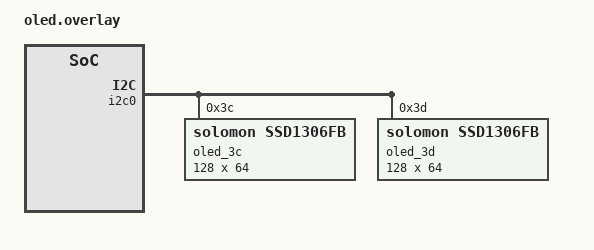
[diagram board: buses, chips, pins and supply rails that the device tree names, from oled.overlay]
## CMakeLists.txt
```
# SPDX-License-Identifier: Apache-2.0
#
# A five-line status screen on a 0.96" SSD1306 that shares the HM01B0 camera's I2C bus.
#
#   west build -b <board> samples/oled_status -- -DBOARD_ROOT=$IISWC_ROOT \
#       -DEXTRA_DTC_OVERLAY_FILE=$IISWC_ROOT/samples/oled_status/oled.overlay
#
# Stock Zephyr all the way down: i2c_sifive (the TLI2C), ssd1306 and CFB. The only code of
# ours is src/oled_status.c (probe, thread, rendering, bar graph) and a 5x8 font.
# fpga/pynq-z2/docs/OLED_SSD1306.md is the design note; scripts/54, 55 and 56 test it on
# the host, in RTL simulation and on the board.
cmake_minimum_required(VERSION 3.20.0)

find_package(Zephyr REQUIRED HINTS $ENV{ZEPHYR_BASE})
project(oled_status)

target_sources(app PRIVATE src/main.c src/oled_status.c src/font5x8.c)
```

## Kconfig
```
# SPDX-License-Identifier: Apache-2.0
mainmenu "OLED status demo"

rsource "src/Kconfig.oled_status"

config OLED_DEMO_FRAMES
	int "Simulated camera frames before the demo prints its summary (0 = run forever)"
	default 300

config OLED_DEMO_FRAME_MS
	int "Simulated frame period (ms)"
	default 33

config OLED_DEMO_PATTERN_MS
	int "How long the test pattern stays up before the status screen (ms)"
	default 2000

config OLED_DEMO_GOLDEN
	bool "Draw the golden screen and the test pattern once, then stop"
	help
	  For the RTL simulation and the board lab's image check: the screen is the fixed
	  one the host test renders into expected/oled_status.json, so the SSD1306 model's
	  framebuffer can be compared byte for byte.

source "Kconfig.zephyr"
```

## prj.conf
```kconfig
# SPDX-License-Identifier: Apache-2.0
CONFIG_PRINTK=y
CONFIG_MAIN_STACK_SIZE=2048

# The display stack: i2c_sifive and ssd1306 are default-y from the devicetree nodes the
# overlay enables; CFB and the display class are not.
CONFIG_I2C=y
CONFIG_DISPLAY=y
CONFIG_CHARACTER_FRAMEBUFFER=y
# Our 5x8 font (src/font5x8.c) instead of the stock 10x16/15x24/20x32 set (~13.8 KB).
CONFIG_CHARACTER_FRAMEBUFFER_USE_DEFAULT_FONTS=n
# cfb_framebuffer_init() k_malloc()s its 1,024-byte buffer.
CONFIG_HEAP_MEM_POOL_SIZE=2048
```

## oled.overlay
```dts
/* SPDX-License-Identifier: Apache-2.0 */
/*
 * The OLED on the camera shield's I2C bus: i2c0 is the TLI2C at 0x1004_0000, already
 * declared (disabled, clock-frequency 100000) in dts/riscv/chipyard/chipyard-riscv.dtsi,
 * which every boards/chipyard/pynqz1* DTS includes. This overlay only enables it and adds
 * the display at both addresses 0.96" modules are strapped for.
 *
 * zephyr,deferred-init on both: nothing probes the bus before main(). oled_status's
 * thread NOP-probes 0x3c then 0x3d and device_init()s the one that ACKs.
 *
 * Panel properties are Zephyr's own ssd1306_128x64 shield values (boards/shields/ssd1306):
 * COM pins alternative (no com-sequential), segment remap + COM scan flipped for the usual
 * module orientation, precharge 0x22. No reset-gpios: these modules have no RES pin.
 *
 * clock-frequency is deliberately NOT set here. chipyard_pynqz1_cam (the camera build's
 * board) sets 100000, and so does the shared dtsi; that is the measured-right value, and the
 * bus has ONE controller and therefore one prescaler for the camera and the display together.
 * fpga/pynq-z2/docs/OLED_SSD1306.md section 7.3 has the measurement (112.7 kHz actual) and
 * why 400000 is not recommended. `status` stays here so the overlay also works on boards
 * whose DTS leaves i2c0 disabled, such as chipyard_pynqz1_micrgb.
 */
&i2c0 {
	status = "okay";

	oled_3c: ssd1306@3c {
		compatible = "solomon,ssd1306fb";
		reg = <0x3c>;
		width = <128>;
		height = <64>;
		segment-offset = <0>;
		page-offset = <0>;
		display-offset = <0>;
		multiplex-ratio = <63>;
		segment-remap;
		com-invdir;
		prechargep = <0x22>;
		zephyr,deferred-init;
	};

	oled_3d: ssd1306@3d {
		compatible = "solomon,ssd1306fb";
		reg = <0x3d>;
		width = <128>;
		height = <64>;
		segment-offset = <0>;
		page-offset = <0>;
		display-offset = <0>;
		multiplex-ratio = <63>;
		segment-remap;
		com-invdir;
		prechargep = <0x22>;
		zephyr,deferred-init;
	};
};
```

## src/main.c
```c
/* SPDX-License-Identifier: Apache-2.0 */
/*
 * OLED status demo. Stands in for the camera + inference loop of the tutorial: it counts
 * frames at CONFIG_OLED_DEMO_FRAME_MS, measures fps from k_uptime, cycles a label and a
 * score, and takes an RTF value "from the application". The display is fed with
 * oled_status_post(), which never blocks, so this loop's timing is the proof that the
 * display does not hold anything up: the summary line reports the loop's own worst-case
 * frame lateness alongside the number of screens drawn.
 *
 * Console lines the lab greps (scripts/56_rocket_oled_board.sh):
 *   OLED_DEMO: start
 *   oled: ready at 0x3c   |   oled: no ACK at 0x3c/0x3d, not fitted ...
 *   OLED_DEMO: state=READY addr=0x3c frames=300 drawn=9 late_max_ms=0
 *   OLED_DEMO: done
 */
#include <zephyr/kernel.h>
#include <zephyr/sys/printk.h>
#include <string.h>

#include "oled_status.h"
#include "oled_golden.h"

static const char *const labels[] = {"person", "no person", "person", "unknown"};

#if defined(CONFIG_UART_HTIF)
/*
 * RTL simulation only. fesvr watches the HTIF `tohost` word: writing 1 ends the simulation,
 * the way the bare-metal samples finish (samples/pext_rtl_selftest). Without it a Zephyr
 * guest that has finished just idles until +max-cycles, and the I2C model's dump waits with
 * it. CONFIG_UART_HTIF is n on every board target, so this is not built for the board.
 */
extern volatile uint64_t tohost;

static void sim_exit(void)
{
	tohost = 1;
}
#else
static void sim_exit(void)
{
}
#endif

/*
 * Wait until the display thread has either finished probing or drawn `drawn` screens.
 *
 * The poll interval is 1 ms in golden mode because that mode runs in RTL simulation, where
 * a millisecond of guest time is half a million simulated cycles: a 10 ms poll would cost
 * minutes of wall-clock per iteration. On the board, 10 ms is the cheaper choice.
 */
static void wait_display(uint32_t drawn, int64_t timeout_ms)
{
	const int poll_ms = IS_ENABLED(CONFIG_OLED_DEMO_GOLDEN) ? 1 : 10;
	int64_t end = k_uptime_get() + timeout_ms;

	while (k_uptime_get() < end) {
		enum oled_state st = oled_status_state();

		if (st == OLED_STATE_ABSENT || st == OLED_STATE_FAILED) {
			return;
		}
		if (st == OLED_STATE_READY && oled_status_frames_drawn() >= drawn) {
			return;
		}
		k_sleep(K_MSEC(poll_ms));
	}
}

static void summary(uint32_t frames, int64_t late_max)
{
	printk("OLED_DEMO: state=%s addr=0x%02x frames=%u drawn=%u late_max_ms=%lld "
	       "render_cycles=%u xfer_cycles=%u\n",
	       oled_state_name(oled_status_state()), oled_status_addr(), frames,
	       oled_status_frames_drawn(), late_max, oled_status_last_render_cycles(),
	       oled_status_last_xfer_cycles());
}

int main(void)
{
	printk("OLED_DEMO: start\n");
	oled_status_start();

	if (IS_ENABLED(CONFIG_OLED_DEMO_GOLDEN)) {
		oled_status_post(&oled_golden_status);
		wait_display(1, 600000);
		printk("OLED_GOLDEN: status screen drawn=%u render_cycles=%u xfer_cycles=%u\n",
		       oled_status_frames_drawn(), oled_status_last_render_cycles(),
		       oled_status_last_xfer_cycles());
		oled_status_post_pattern();
		wait_display(2, 600000);
		printk("OLED_GOLDEN: pattern drawn=%u render_cycles=%u xfer_cycles=%u\n",
		       oled_status_frames_drawn(), oled_status_last_render_cycles(),
		       oled_status_last_xfer_cycles());
		summary(0, 0);
		printk("OLED_DEMO: done\n");
		sim_exit();
		return 0;
	}

	oled_status_post_pattern();
	k_sleep(K_MSEC(CONFIG_OLED_DEMO_PATTERN_MS));

	struct oled_status s = oled_golden_status;
	int64_t t0 = k_uptime_get();
	int64_t due = t0;
	int64_t late_max = 0;
	uint32_t frame = 0;

	for (;;) {
		due += CONFIG_OLED_DEMO_FRAME_MS;
		k_sleep(K_TIMEOUT_ABS_MS(due));
		int64_t now = k_uptime_get();

		if (now - due > late_max) {
			late_max = now - due;
		}
		frame++;

		s.frame = frame;
		s.fps_milli = (uint32_t)((int64_t)frame * 1000000 / MAX(now - t0, 1));
		strncpy(s.label, labels[(frame / 30U) % ARRAY_SIZE(labels)], sizeof(s.label) - 1);
		s.score_pct = (uint8_t)(50U + (frame * 7U) % 50U);
		s.rtf_milli = 4350; /* the application's own number; the demo has none */
		oled_status_post(&s);

		if (CONFIG_OLED_DEMO_FRAMES && frame == CONFIG_OLED_DEMO_FRAMES) {
			wait_display(oled_status_frames_drawn() + 1, 5000);
			summary(frame, late_max);
			printk("OLED_DEMO: done\n");
			sim_exit();
			return 0;
		}
	}
}
```

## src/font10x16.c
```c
/* SPDX-License-Identifier: Apache-2.0 */
/*
 * GENERATED by samples/oled_status/tools/gen_font_scaled.py 2 -- do not edit.
 * Source: src/font5x8.c, pixel-doubled 2x.  Public domain font (X11 misc-fixed).
 * 10x16 cells, CFB_FONT_MONO_VPACKED, LSB first, ASCII 0x20..0x7e.
 * On a 128x64 panel: 12 characters per line, 4 lines.
 */
#include <zephyr/display/cfb.h>

static const uint8_t oled_font10x16[95][20] = {
	{0x00, 0x00, 0x00, 0x00, 0x00, 0x00, 0x00, 0x00, 0x00, 0x00, 0x00, 0x00, 0x00, 0x00, 0x00, 0x00, 0x00, 0x00, 0x00, 0x00},  /* 0x20  */
	{0x00, 0x00, 0x00, 0x00, 0x00, 0x00, 0x00, 0x00, 0xff, 0x0c, 0xff, 0x0c, 0x00, 0x00, 0x00, 0x00, 0x00, 0x00, 0x00, 0x00},  /* 0x21 ! */
	{0x00, 0x00, 0x00, 0x00, 0x3f, 0x00, 0x3f, 0x00, 0x00, 0x00, 0x00, 0x00, 0x3f, 0x00, 0x3f, 0x00, 0x00, 0x00, 0x00, 0x00},  /* 0x22 " */
	{0x30, 0x03, 0x30, 0x03, 0xfc, 0x0f, 0xfc, 0x0f, 0x30, 0x03, 0x30, 0x03, 0xfc, 0x0f, 0xfc, 0x0f, 0x30, 0x03, 0x30, 0x03},  /* 0x23 # */
	{0x30, 0x00, 0x30, 0x00, 0xcc, 0x0c, 0xcc, 0x0c, 0xfc, 0x0f, 0xfc, 0x0f, 0xcc, 0x0c, 0xcc, 0x0c, 0x00, 0x03, 0x00, 0x03},  /* 0x24 $ */
	{0x0f, 0x03, 0x0f, 0x03, 0xc0, 0x00, 0xc0, 0x00, 0x30, 0x00, 0x30, 0x00, 0x0c, 0x0f, 0x0c, 0x0f, 0x00, 0x00, 0x00, 0x00},  /* 0x25 % */
	{0x30, 0x03, 0x30, 0x03, 0xcc, 0x0c, 0xcc, 0x0c, 0x30, 0x03, 0x30, 0x03, 0x00, 0x0c, 0x00, 0x0c, 0x00, 0x00, 0x00, 0x00},  /* 0x26 & */
	{0x00, 0x00, 0x00, 0x00, 0x00, 0x00, 0x00, 0x00, 0x3f, 0x00, 0x3f, 0x00, 0x00, 0x00, 0x00, 0x00, 0x00, 0x00, 0x00, 0x00},  /* 0x27 ' */
	{0x00, 0x00, 0x00, 0x00, 0xfc, 0x03, 0xfc, 0x03, 0x03, 0x0c, 0x03, 0x0c, 0x00, 0x00, 0x00, 0x00, 0x00, 0x00, 0x00, 0x00},  /* 0x28 ( */
	{0x00, 0x00, 0x00, 0x00, 0x03, 0x0c, 0x03, 0x0c, 0xfc, 0x03, 0xfc, 0x03, 0x00, 0x00, 0x00, 0x00, 0x00, 0x00, 0x00, 0x00},  /* 0x29 ) */
	{0x00, 0x00, 0x00, 0x00, 0xcc, 0x0c, 0xcc, 0x0c, 0xf0, 0x03, 0xf0, 0x03, 0xcc, 0x0c, 0xcc, 0x0c, 0x00, 0x00, 0x00, 0x00},  /* 0x2a * */
	{0xc0, 0x00, 0xc0, 0x00, 0xc0, 0x00, 0xc0, 0x00, 0xfc, 0x0f, 0xfc, 0x0f, 0xc0, 0x00, 0xc0, 0x00, 0xc0, 0x00, 0xc0, 0x00},  /* 0x2b + */
	{0x00, 0x00, 0x00, 0x00, 0x00, 0x30, 0x00, 0x30, 0x00, 0x0f, 0x00, 0x0f, 0x00, 0x03, 0x00, 0x03, 0x00, 0x00, 0x00, 0x00},  /* 0x2c , */
	{0xc0, 0x00, 0xc0, 0x00, 0xc0, 0x00, 0xc0, 0x00, 0xc0, 0x00, 0xc0, 0x00, 0xc0, 0x00, 0xc0, 0x00, 0x00, 0x00, 0x00, 0x00},  /* 0x2d - */
	{0x00, 0x00, 0x00, 0x00, 0x00, 0x0f, 0x00, 0x0f, 0x00, 0x0f, 0x00, 0x0f, 0x00, 0x00, 0x00, 0x00, 0x00, 0x00, 0x00, 0x00},  /* 0x2e . */
	{0x00, 0x03, 0x00, 0x03, 0xc0, 0x00, 0xc0, 0x00, 0x30, 0x00, 0x30, 0x00, 0x0c, 0x00, 0x0c, 0x00, 0x00, 0x00, 0x00, 0x00},  /* 0x2f / */
	{0x00, 0x00, 0x00, 0x00, 0xfc, 0x03, 0xfc, 0x03, 0x03, 0x0c, 0x03, 0x0c, 0xfc, 0x03, 0xfc, 0x03, 0x00, 0x00, 0x00, 0x00},  /* 0x30 0 */
	{0x00, 0x00, 0x00, 0x00, 0x0c, 0x0c, 0x0c, 0x0c, 0xff, 0x0f, 0xff, 0x0f, 0x00, 0x0c, 0x00, 0x0c, 0x00, 0x00, 0x00, 0x00},  /* 0x31 1 */
	{0x0c, 0x0c, 0x0c, 0x0c, 0x03, 0x0f, 0x03, 0x0f, 0xc3, 0x0c, 0xc3, 0x0c, 0x3c, 0x0c, 0x3c, 0x0c, 0x00, 0x00, 0x00, 0x00},  /* 0x32 2 */
	{0x03, 0x03, 0x03, 0x03, 0x33, 0x0c, 0x33, 0x0c, 0x33, 0x0c, 0x33, 0x0c, 0xcf, 0x03, 0xcf, 0x03, 0x00, 0x00, 0x00, 0x00},  /* 0x33 3 */
	{0xf0, 0x00, 0xf0, 0x00, 0xcc, 0x00, 0xcc, 0x00, 0xff, 0x0f, 0xff, 0x0f, 0xc0, 0x00, 0xc0, 0x00, 0x00, 0x00, 0x00, 0x00},  /* 0x34 4 */
	{0x3f, 0x03, 0x3f, 0x03, 0x33, 0x0c, 0x33, 0x0c, 0x33, 0x0c, 0x33, 0x0c, 0xc3, 0x03, 0xc3, 0x03, 0x00, 0x00, 0x00, 0x00},  /* 0x35 5 */
	{0xfc, 0x03, 0xfc, 0x03, 0x33, 0x0c, 0x33, 0x0c, 0x33, 0x0c, 0x33, 0x0c, 0xc0, 0x03, 0xc0, 0x03, 0x00, 0x00, 0x00, 0x00},  /* 0x36 6 */
	{0x03, 0x00, 0x03, 0x00, 0x03, 0x0f, 0x03, 0x0f, 0xf3, 0x00, 0xf3, 0x00, 0x0f, 0x00, 0x0f, 0x00, 0x00, 0x00, 0x00, 0x00},  /* 0x37 7 */
	{0xcc, 0x03, 0xcc, 0x03, 0x33, 0x0c, 0x33, 0x0c, 0x33, 0x0c, 0x33, 0x0c, 0xcc, 0x03, 0xcc, 0x03, 0x00, 0x00, 0x00, 0x00},  /* 0x38 8 */
	{0x3c, 0x00, 0x3c, 0x00, 0xc3, 0x0c, 0xc3, 0x0c, 0xc3, 0x0c, 0xc3, 0x0c, 0xfc, 0x03, 0xfc, 0x03, 0x00, 0x00, 0x00, 0x00},  /* 0x39 9 */
	{0x00, 0x00, 0x00, 0x00, 0x3c, 0x0f, 0x3c, 0x0f, 0x3c, 0x0f, 0x3c, 0x0f, 0x00, 0x00, 0x00, 0x00, 0x00, 0x00, 0x00, 0x00},  /* 0x3a : */
	{0x00, 0x30, 0x00, 0x30, 0x3c, 0x0f, 0x3c, 0x0f, 0x3c, 0x03, 0x3c, 0x03, 0x00, 0x00, 0x00, 0x00, 0x00, 0x00, 0x00, 0x00},  /* 0x3b ; */
	{0x00, 0x00, 0x00, 0x00, 0xc0, 0x00, 0xc0, 0x00, 0x30, 0x03, 0x30, 0x03, 0x0c, 0x0c, 0x0c, 0x0c, 0x00, 0x00, 0x00, 0x00},  /* 0x3c < */
	{0x30, 0x03, 0x30, 0x03, 0x30, 0x03, 0x30, 0x03, 0x30, 0x03, 0x30, 0x03, 0x30, 0x03, 0x30, 0x03, 0x00, 0x00, 0x00, 0x00},  /* 0x3d = */
	{0x00, 0x00, 0x00, 0x00, 0x0c, 0x0c, 0x0c, 0x0c, 0x30, 0x03, 0x30, 0x03, 0xc0, 0x00, 0xc0, 0x00, 0x00, 0x00, 0x00, 0x00},  /* 0x3e > */
	{0x00, 0x00, 0x00, 0x00, 0x0c, 0x00, 0x0c, 0x00, 0xc3, 0x0c, 0xc3, 0x0c, 0x3c, 0x00, 0x3c, 0x00, 0x00, 0x00, 0x00, 0x00},  /* 0x3f ? */
	{0xfc, 0x03, 0xfc, 0x03, 0x03, 0x0c, 0x03, 0x0c, 0xf3, 0x0c, 0xf3, 0x0c, 0xfc, 0x00, 0xfc, 0x00, 0x00, 0x00, 0x00, 0x00},  /* 0x40 @ */
	{0xfc, 0x0f, 0xfc, 0x0f, 0xc3, 0x00, 0xc3, 0x00, 0xc3, 0x00, 0xc3, 0x00, 0xfc, 0x0f, 0xfc, 0x0f, 0x00, 0x00, 0x00, 0x00},  /* 0x41 A */
	{0xff, 0x0f, 0xff, 0x0f, 0x33, 0x0c, 0x33, 0x0c, 0x33, 0x0c, 0x33, 0x0c, 0xcc, 0x03, 0xcc, 0x03, 0x00, 0x00, 0x00, 0x00},  /* 0x42 B */
	{0xfc, 0x03, 0xfc, 0x03, 0x03, 0x0c, 0x03, 0x0c, 0x03, 0x0c, 0x03, 0x0c, 0x0c, 0x03, 0x0c, 0x03, 0x00, 0x00, 0x00, 0x00},  /* 0x43 C */
	{0xff, 0x0f, 0xff, 0x0f, 0x03, 0x0c, 0x03, 0x0c, 0x03, 0x0c, 0x03, 0x0c, 0xfc, 0x03, 0xfc, 0x03, 0x00, 0x00, 0x00, 0x00},  /* 0x44 D */
	{0xff, 0x0f, 0xff, 0x0f, 0x33, 0x0c, 0x33, 0x0c, 0x33, 0x0c, 0x33, 0x0c, 0x03, 0x0c, 0x03, 0x0c, 0x00, 0x00, 0x00, 0x00},  /* 0x45 E */
	{0xff, 0x0f, 0xff, 0x0f, 0x33, 0x00, 0x33, 0x00, 0x33, 0x00, 0x33, 0x00, 0x03, 0x00, 0x03, 0x00, 0x00, 0x00, 0x00, 0x00},  /* 0x46 F */
	{0xfc, 0x03, 0xfc, 0x03, 0x03, 0x0c, 0x03, 0x0c, 0xc3, 0x0c, 0xc3, 0x0c, 0xcc, 0x0f, 0xcc, 0x0f, 0x00, 0x00, 0x00, 0x00},  /* 0x47 G */
	{0xff, 0x0f, 0xff, 0x0f, 0x30, 0x00, 0x30, 0x00, 0x30, 0x00, 0x30, 0x00, 0xff, 0x0f, 0xff, 0x0f, 0x00, 0x00, 0x00, 0x00},  /* 0x48 H */
	{0x00, 0x00, 0x00, 0x00, 0x03, 0x0c, 0x03, 0x0c, 0xff, 0x0f, 0xff, 0x0f, 0x03, 0x0c, 0x03, 0x0c, 0x00, 0x00, 0x00, 0x00},  /* 0x49 I */
	{0x00, 0x03, 0x00, 0x03, 0x00, 0x0c, 0x00, 0x0c, 0x00, 0x0c, 0x00, 0x0c, 0xff, 0x03, 0xff, 0x03, 0x00, 0x00, 0x00, 0x00},  /* 0x4a J */
	{0xff, 0x0f, 0xff, 0x0f, 0xf0, 0x00, 0xf0, 0x00, 0x0c, 0x03, 0x0c, 0x03, 0x03, 0x0c, 0x03, 0x0c, 0x00, 0x00, 0x00, 0x00},  /* 0x4b K */
	{0xff, 0x0f, 0xff, 0x0f, 0x00, 0x0c, 0x00, 0x0c, 0x00, 0x0c, 0x00, 0x0c, 0x00, 0x0c, 0x00, 0x0c, 0x00, 0x00, 0x00, 0x00},  /* 0x4c L */
	{0xff, 0x0f, 0xff, 0x0f, 0x3c, 0x00, 0x3c, 0x00, 0x3c, 0x00, 0x3c, 0x00, 0xff, 0x0f, 0xff, 0x0f, 0x00, 0x00, 0x00, 0x00},  /* 0x4d M */
	{0xff, 0x0f, 0xff, 0x0f, 0x3c, 0x00, 0x3c, 0x00, 0xc0, 0x03, 0xc0, 0x03, 0xff, 0x0f, 0xff, 0x0f, 0x00, 0x00, 0x00, 0x00},  /* 0x4e N */
	{0xfc, 0x03, 0xfc, 0x03, 0x03, 0x0c, 0x03, 0x0c, 0x03, 0x0c, 0x03, 0x0c, 0xfc, 0x03, 0xfc, 0x03, 0x00, 0x00, 0x00, 0x00},  /* 0x4f O */
	{0xff, 0x0f, 0xff, 0x0f, 0xc3, 0x00, 0xc3, 0x00, 0xc3, 0x00, 0xc3, 0x00, 0x3c, 0x00, 0x3c, 0x00, 0x00, 0x00, 0x00, 0x00},  /* 0x50 P */
	{0xfc, 0x03, 0xfc, 0x03, 0x03, 0x0f, 0x03, 0x0f, 0x03, 0x0c, 0x03, 0x0c, 0xfc, 0x33, 0xfc, 0x33, 0x00, 0x00, 0x00, 0x00},  /* 0x51 Q */
	{0xff, 0x0f, 0xff, 0x0f, 0xc3, 0x00, 0xc3, 0x00, 0xc3, 0x03, 0xc3, 0x03, 0x3c, 0x0c, 0x3c, 0x0c, 0x00, 0x00, 0x00, 0x00},  /* 0x52 R */
	{0x0c, 0x03, 0x0c, 0x03, 0x33, 0x0c, 0x33, 0x0c, 0xc3, 0x0c, 0xc3, 0x0c, 0x0c, 0x03, 0x0c, 0x03, 0x00, 0x00, 0x00, 0x00},  /* 0x53 S */
	{0x00, 0x00, 0x00, 0x00, 0x03, 0x00, 0x03, 0x00, 0xff, 0x0f, 0xff, 0x0f, 0x03, 0x00, 0x03, 0x00, 0x00, 0x00, 0x00, 0x00},  /* 0x54 T */
	{0xff, 0x03, 0xff, 0x03, 0x00, 0x0c, 0x00, 0x0c, 0x00, 0x0c, 0x00, 0x0c, 0xff, 0x03, 0xff, 0x03, 0x00, 0x00, 0x00, 0x00},  /* 0x55 U */
	{0xff, 0x00, 0xff, 0x00, 0x00, 0x0f, 0x00, 0x0f, 0x00, 0x0f, 0x00, 0x0f, 0xff, 0x00, 0xff, 0x00, 0x00, 0x00, 0x00, 0x00},  /* 0x56 V */
	{0xff, 0x0f, 0xff, 0x0f, 0xc0, 0x03, 0xc0, 0x03, 0xc0, 0x03, 0xc0, 0x03, 0xff, 0x0f, 0xff, 0x0f, 0x00, 0x00, 0x00, 0x00},  /* 0x57 W */
	{0x0f, 0x0f, 0x0f, 0x0f, 0xf0, 0x00, 0xf0, 0x00, 0xf0, 0x00, 0xf0, 0x00, 0x0f, 0x0f, 0x0f, 0x0f, 0x00, 0x00, 0x00, 0x00},  /* 0x58 X */
	{0x00, 0x00, 0x00, 0x00, 0x3f, 0x00, 0x3f, 0x00, 0xc0, 0x0f, 0xc0, 0x0f, 0x3f, 0x00, 0x3f, 0x00, 0x00, 0x00, 0x00, 0x00},  /* 0x59 Y */
	{0x03, 0x0f, 0x03, 0x0f, 0xc3, 0x0c, 0xc3, 0x0c, 0x33, 0x0c, 0x33, 0x0c, 0x0f, 0x0c, 0x0f, 0x0c, 0x00, 0x00, 0x00, 0x00},  /* 0x5a Z */
	{0x00, 0x00, 0x00, 0x00, 0xff, 0x0f, 0xff, 0x0f, 0x03, 0x0c, 0x03, 0x0c, 0x03, 0x0c, 0x03, 0x0c, 0x00, 0x00, 0x00, 0x00},  /* 0x5b [ */
	{0x0c, 0x00, 0x0c, 0x00, 0x30, 0x00, 0x30, 0x00, 0xc0, 0x00, 0xc0, 0x00, 0x00, 0x03, 0x00, 0x03, 0x00, 0x00, 0x00, 0x00},  /* 0x5c \ */
	{0x00, 0x00, 0x00, 0x00, 0x03, 0x0c, 0x03, 0x0c, 0x03, 0x0c, 0x03, 0x0c, 0xff, 0x0f, 0xff, 0x0f, 0x00, 0x00, 0x00, 0x00},  /* 0x5d ] */
	{0x00, 0x00, 0x00, 0x00, 0x0c, 0x00, 0x0c, 0x00, 0x03, 0x00, 0x03, 0x00, 0x0c, 0x00, 0x0c, 0x00, 0x00, 0x00, 0x00, 0x00},  /* 0x5e ^ */
	{0x00, 0x0c, 0x00, 0x0c, 0x00, 0x0c, 0x00, 0x0c, 0x00, 0x0c, 0x00, 0x0c, 0x00, 0x0c, 0x00, 0x0c, 0x00, 0x00, 0x00, 0x00},  /* 0x5f _ */
	{0x00, 0x00, 0x00, 0x00, 0x03, 0x00, 0x03, 0x00, 0x0c, 0x00, 0x0c, 0x00, 0x00, 0x00, 0x00, 0x00, 0x00, 0x00, 0x00, 0x00},  /* 0x60 ` */
	{0xc0, 0x03, 0xc0, 0x03, 0x30, 0x0c, 0x30, 0x0c, 0x30, 0x03, 0x30, 0x03, 0xf0, 0x0f, 0xf0, 0x0f, 0x00, 0x00, 0x00, 0x00},  /* 0x61 a */
	{0xff, 0x0f, 0xff, 0x0f, 0x30, 0x0c, 0x30, 0x0c, 0x30, 0x0c, 0x30, 0x0c, 0xc0, 0x03, 0xc0, 0x03, 0x00, 0x00, 0x00, 0x00},  /* 0x62 b */
	{0xc0, 0x03, 0xc0, 0x03, 0x30, 0x0c, 0x30, 0x0c, 0x30, 0x0c, 0x30, 0x0c, 0x00, 0x00, 0x00, 0x00, 0x00, 0x00, 0x00, 0x00},  /* 0x63 c */
	{0xc0, 0x03, 0xc0, 0x03, 0x30, 0x0c, 0x30, 0x0c, 0x30, 0x0c, 0x30, 0x0c, 0xff, 0x0f, 0xff, 0x0f, 0x00, 0x00, 0x00, 0x00},  /* 0x64 d */
	{0xc0, 0x03, 0xc0, 0x03, 0x30, 0x0f, 0x30, 0x0f, 0xf0, 0x0c, 0xf0, 0x0c, 0xc0, 0x00, 0xc0, 0x00, 0x00, 0x00, 0x00, 0x00},  /* 0x65 e */
	{0xc0, 0x00, 0xc0, 0x00, 0xfc, 0x0f, 0xfc, 0x0f, 0xc3, 0x00, 0xc3, 0x00, 0x0c, 0x00, 0x0c, 0x00, 0x00, 0x00, 0x00, 0x00},  /* 0x66 f */
	{0xc0, 0x0c, 0xc0, 0x0c, 0x30, 0x33, 0x30, 0x33, 0x30, 0x33, 0x30, 0x33, 0xf0, 0x30, 0xf0, 0x30, 0x00, 0x00, 0x00, 0x00},  /* 0x67 g */
	{0xff, 0x0f, 0xff, 0x0f, 0x30, 0x00, 0x30, 0x00, 0x30, 0x00, 0x30, 0x00, 0xc0, 0x0f, 0xc0, 0x0f, 0x00, 0x00, 0x00, 0x00},  /* 0x68 h */
	{0x00, 0x00, 0x00, 0x00, 0x30, 0x0c, 0x30, 0x0c, 0xf3, 0x0f, 0xf3, 0x0f, 0x00, 0x0c, 0x00, 0x0c, 0x00, 0x00, 0x00, 0x00},  /* 0x69 i */
	{0x00, 0x00, 0x00, 0x00, 0x00, 0x0c, 0x00, 0x0c, 0x00, 0x30, 0x00, 0x30, 0xf3, 0x0f, 0xf3, 0x0f, 0x00, 0x00, 0x00, 0x00},  /* 0x6a j */
	{0xff, 0x0f, 0xff, 0x0f, 0xc0, 0x00, 0xc0, 0x00, 0x30, 0x03, 0x30, 0x03, 0x00, 0x0c, 0x00, 0x0c, 0x00, 0x00, 0x00, 0x00},  /* 0x6b k */
	{0x00, 0x00, 0x00, 0x00, 0x03, 0x0c, 0x03, 0x0c, 0xff, 0x0f, 0xff, 0x0f, 0x00, 0x0c, 0x00, 0x0c, 0x00, 0x00, 0x00, 0x00},  /* 0x6c l */
	{0xf0, 0x0f, 0xf0, 0x0f, 0xc0, 0x00, 0xc0, 0x00, 0xf0, 0x00, 0xf0, 0x00, 0xc0, 0x0f, 0xc0, 0x0f, 0x00, 0x00, 0x00, 0x00},  /* 0x6d m */
	{0xf0, 0x0f, 0xf0, 0x0f, 0x30, 0x00, 0x30, 0x00, 0x30, 0x00, 0x30, 0x00, 0xc0, 0x0f, 0xc0, 0x0f, 0x00, 0x00, 0x00, 0x00},  /* 0x6e n */
	{0xc0, 0x03, 0xc0, 0x03, 0x30, 0x0c, 0x30, 0x0c, 0x30, 0x0c, 0x30, 0x0c, 0xc0, 0x03, 0xc0, 0x03, 0x00, 0x00, 0x00, 0x00},  /* 0x6f o */
	{0xf0, 0x3f, 0xf0, 0x3f, 0x30, 0x0c, 0x30, 0x0c, 0x30, 0x0c, 0x30, 0x0c, 0xc0, 0x03, 0xc0, 0x03, 0x00, 0x00, 0x00, 0x00},  /* 0x70 p */
	{0xc0, 0x03, 0xc0, 0x03, 0x30, 0x0c, 0x30, 0x0c, 0x30, 0x0c, 0x30, 0x0c, 0xf0, 0x3f, 0xf0, 0x3f, 0x00, 0x00, 0x00, 0x00},  /* 0x71 q */
	{0xf0, 0x0f, 0xf0, 0x0f, 0x30, 0x00, 0x30, 0x00, 0x30, 0x00, 0x30, 0x00, 0xc0, 0x00, 0xc0, 0x00, 0x00, 0x00, 0x00, 0x00},  /* 0x72 r */
	{0xc0, 0x0c, 0xc0, 0x0c, 0xf0, 0x0c, 0xf0, 0x0c, 0x30, 0x0f, 0x30, 0x0f, 0x30, 0x03, 0x30, 0x03, 0x00, 0x00, 0x00, 0x00},  /* 0x73 s */
	{0x30, 0x00, 0x30, 0x00, 0xff, 0x03, 0xff, 0x03, 0x30, 0x0c, 0x30, 0x0c, 0x00, 0x0c, 0x00, 0x0c, 0x00, 0x00, 0x00, 0x00},  /* 0x74 t */
	{0xf0, 0x03, 0xf0, 0x03, 0x00, 0x0c, 0x00, 0x0c, 0x00, 0x0c, 0x00, 0x0c, 0xf0, 0x0f, 0xf0, 0x0f, 0x00, 0x00, 0x00, 0x00},  /* 0x75 u */
	{0x00, 0x00, 0x00, 0x00, 0xf0, 0x03, 0xf0, 0x03, 0x00, 0x0c, 0x00, 0x0c, 0xf0, 0x03, 0xf0, 0x03, 0x00, 0x00, 0x00, 0x00},  /* 0x76 v */
	{0xf0, 0x0f, 0xf0, 0x0f, 0x00, 0x0f, 0x00, 0x0f, 0x00, 0x0f, 0x00, 0x0f, 0xf0, 0x0f, 0xf0, 0x0f, 0x00, 0x00, 0x00, 0x00},  /* 0x77 w */
	{0x30, 0x0c, 0x30, 0x0c, 0xc0, 0x03, 0xc0, 0x03, 0xc0, 0x03, 0xc0, 0x03, 0x30, 0x0c, 0x30, 0x0c, 0x00, 0x00, 0x00, 0x00},  /* 0x78 x */
	{0xf0, 0x00, 0xf0, 0x00, 0x00, 0x33, 0x00, 0x33, 0x00, 0x0c, 0x00, 0x0c, 0xf0, 0x03, 0xf0, 0x03, 0x00, 0x00, 0x00, 0x00},  /* 0x79 y */
	{0x30, 0x0c, 0x30, 0x0c, 0x30, 0x0f, 0x30, 0x0f, 0xf0, 0x0c, 0xf0, 0x0c, 0x30, 0x0c, 0x30, 0x0c, 0x00, 0x00, 0x00, 0x00},  /* 0x7a z */
	{0x00, 0x00, 0x00, 0x00, 0x30, 0x00, 0x30, 0x00, 0xfc, 0x03, 0xfc, 0x03, 0x03, 0x0c, 0x03, 0x0c, 0x00, 0x00, 0x00, 0x00},  /* 0x7b { */
	{0x00, 0x00, 0x00, 0x00, 0x00, 0x00, 0x00, 0x00, 0xff, 0x0f, 0xff, 0x0f, 0x00, 0x00, 0x00, 0x00, 0x00, 0x00, 0x00, 0x00},  /* 0x7c | */
	{0x00, 0x00, 0x00, 0x00, 0x03, 0x0c, 0x03, 0x0c, 0xfc, 0x03, 0xfc, 0x03, 0x30, 0x00, 0x30, 0x00, 0x00, 0x00, 0x00, 0x00},  /* 0x7d } */
	{0x0c, 0x00, 0x0c, 0x00, 0x03, 0x00, 0x03, 0x00, 0x0c, 0x00, 0x0c, 0x00, 0x03, 0x00, 0x03, 0x00, 0x00, 0x00, 0x00, 0x00},  /* 0x7e ~ */
};

FONT_ENTRY_DEFINE(oled_font10x16_entry, 10, 16, CFB_FONT_MONO_VPACKED, oled_font10x16, 32, 126);
```

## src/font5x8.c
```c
/* SPDX-License-Identifier: Apache-2.0 */
/*
 * GENERATED by samples/oled_status/tools/gen_font5x8.py -- do not edit.
 * Source: X11 misc-fixed -Misc-Fixed-Medium-R-Normal--7-70-75-75-C-50-ISO8859-1
 * Source licence (PCF COPYRIGHT property): "Public domain font.  Share and enjoy."
 * 5x8 cells, CFB_FONT_MONO_VPACKED, LSB first (bit 0 = top row), ASCII 0x20..0x7e.
 */
#include <zephyr/display/cfb.h>

static const uint8_t oled_font5x8[95][5] = {
	{0x00, 0x00, 0x00, 0x00, 0x00},  /* 0x20   */
	{0x00, 0x00, 0x2f, 0x00, 0x00},  /* 0x21 ! */
	{0x00, 0x07, 0x00, 0x07, 0x00},  /* 0x22 " */
	{0x14, 0x3e, 0x14, 0x3e, 0x14},  /* 0x23 # */
	{0x04, 0x2a, 0x3e, 0x2a, 0x10},  /* 0x24 $ */
	{0x13, 0x08, 0x04, 0x32, 0x00},  /* 0x25 % */
	{0x14, 0x2a, 0x14, 0x20, 0x00},  /* 0x26 & */
	{0x00, 0x00, 0x07, 0x00, 0x00},  /* 0x27 ' */
	{0x00, 0x1e, 0x21, 0x00, 0x00},  /* 0x28 ( */
	{0x00, 0x21, 0x1e, 0x00, 0x00},  /* 0x29 ) */
	{0x00, 0x2a, 0x1c, 0x2a, 0x00},  /* 0x2a   */
	{0x08, 0x08, 0x3e, 0x08, 0x08},  /* 0x2b + */
	{0x00, 0x40, 0x30, 0x10, 0x00},  /* 0x2c , */
	{0x08, 0x08, 0x08, 0x08, 0x00},  /* 0x2d - */
	{0x00, 0x30, 0x30, 0x00, 0x00},  /* 0x2e . */
	{0x10, 0x08, 0x04, 0x02, 0x00},  /* 0x2f   */
	{0x00, 0x1e, 0x21, 0x1e, 0x00},  /* 0x30 0 */
	{0x00, 0x22, 0x3f, 0x20, 0x00},  /* 0x31 1 */
	{0x22, 0x31, 0x29, 0x26, 0x00},  /* 0x32 2 */
	{0x11, 0x25, 0x25, 0x1b, 0x00},  /* 0x33 3 */
	{0x0c, 0x0a, 0x3f, 0x08, 0x00},  /* 0x34 4 */
	{0x17, 0x25, 0x25, 0x19, 0x00},  /* 0x35 5 */
	{0x1e, 0x25, 0x25, 0x18, 0x00},  /* 0x36 6 */
	{0x01, 0x31, 0x0d, 0x03, 0x00},  /* 0x37 7 */
	{0x1a, 0x25, 0x25, 0x1a, 0x00},  /* 0x38 8 */
	{0x06, 0x29, 0x29, 0x1e, 0x00},  /* 0x39 9 */
	{0x00, 0x36, 0x36, 0x00, 0x00},  /* 0x3a : */
	{0x40, 0x36, 0x16, 0x00, 0x00},  /* 0x3b ; */
	{0x00, 0x08, 0x14, 0x22, 0x00},  /* 0x3c < */
	{0x14, 0x14, 0x14, 0x14, 0x00},  /* 0x3d = */
	{0x00, 0x22, 0x14, 0x08, 0x00},  /* 0x3e > */
	{0x00, 0x02, 0x29, 0x06, 0x00},  /* 0x3f ? */
	{0x1e, 0x21, 0x2d, 0x0e, 0x00},  /* 0x40 @ */
	{0x3e, 0x09, 0x09, 0x3e, 0x00},  /* 0x41 A */
	{0x3f, 0x25, 0x25, 0x1a, 0x00},  /* 0x42 B */
	{0x1e, 0x21, 0x21, 0x12, 0x00},  /* 0x43 C */
	{0x3f, 0x21, 0x21, 0x1e, 0x00},  /* 0x44 D */
	{0x3f, 0x25, 0x25, 0x21, 0x00},  /* 0x45 E */
	{0x3f, 0x05, 0x05, 0x01, 0x00},  /* 0x46 F */
	{0x1e, 0x21, 0x29, 0x3a, 0x00},  /* 0x47 G */
	{0x3f, 0x04, 0x04, 0x3f, 0x00},  /* 0x48 H */
	{0x00, 0x21, 0x3f, 0x21, 0x00},  /* 0x49 I */
	{0x10, 0x20, 0x20, 0x1f, 0x00},  /* 0x4a J */
	{0x3f, 0x0c, 0x12, 0x21, 0x00},  /* 0x4b K */
	{0x3f, 0x20, 0x20, 0x20, 0x00},  /* 0x4c L */
	{0x3f, 0x06, 0x06, 0x3f, 0x00},  /* 0x4d M */
	{0x3f, 0x06, 0x18, 0x3f, 0x00},  /* 0x4e N */
	{0x1e, 0x21, 0x21, 0x1e, 0x00},  /* 0x4f O */
	{0x3f, 0x09, 0x09, 0x06, 0x00},  /* 0x50 P */
	{0x1e, 0x31, 0x21, 0x5e, 0x00},  /* 0x51 Q */
	{0x3f, 0x09, 0x19, 0x26, 0x00},  /* 0x52 R */
	{0x12, 0x25, 0x29, 0x12, 0x00},  /* 0x53 S */
	{0x00, 0x01, 0x3f, 0x01, 0x00},  /* 0x54 T */
	{0x1f, 0x20, 0x20, 0x1f, 0x00},  /* 0x55 U */
	{0x0f, 0x30, 0x30, 0x0f, 0x00},  /* 0x56 V */
	{0x3f, 0x18, 0x18, 0x3f, 0x00},  /* 0x57 W */
	{0x33, 0x0c, 0x0c, 0x33, 0x00},  /* 0x58 X */
	{0x00, 0x07, 0x38, 0x07, 0x00},  /* 0x59 Y */
	{0x31, 0x29, 0x25, 0x23, 0x00},  /* 0x5a Z */
	{0x00, 0x3f, 0x21, 0x21, 0x00},  /* 0x5b [ */
	{0x02, 0x04, 0x08, 0x10, 0x00},  /* 0x5c   */
	{0x00, 0x21, 0x21, 0x3f, 0x00},  /* 0x5d ] */
	{0x00, 0x02, 0x01, 0x02, 0x00},  /* 0x5e ^ */
	{0x20, 0x20, 0x20, 0x20, 0x00},  /* 0x5f _ */
	{0x00, 0x01, 0x02, 0x00, 0x00},  /* 0x60 ` */
	{0x18, 0x24, 0x14, 0x3c, 0x00},  /* 0x61 a */
	{0x3f, 0x24, 0x24, 0x18, 0x00},  /* 0x62 b */
	{0x18, 0x24, 0x24, 0x00, 0x00},  /* 0x63 c */
	{0x18, 0x24, 0x24, 0x3f, 0x00},  /* 0x64 d */
	{0x18, 0x34, 0x2c, 0x08, 0x00},  /* 0x65 e */
	{0x08, 0x3e, 0x09, 0x02, 0x00},  /* 0x66 f */
	{0x28, 0x54, 0x54, 0x4c, 0x00},  /* 0x67 g */
	{0x3f, 0x04, 0x04, 0x38, 0x00},  /* 0x68 h */
	{0x00, 0x24, 0x3d, 0x20, 0x00},  /* 0x69 i */
	{0x00, 0x20, 0x40, 0x3d, 0x00},  /* 0x6a j */
	{0x3f, 0x08, 0x14, 0x20, 0x00},  /* 0x6b k */
	{0x00, 0x21, 0x3f, 0x20, 0x00},  /* 0x6c l */
	{0x3c, 0x08, 0x0c, 0x38, 0x00},  /* 0x6d m */
	{0x3c, 0x04, 0x04, 0x38, 0x00},  /* 0x6e n */
	{0x18, 0x24, 0x24, 0x18, 0x00},  /* 0x6f o */
	{0x7c, 0x24, 0x24, 0x18, 0x00},  /* 0x70 p */
	{0x18, 0x24, 0x24, 0x7c, 0x00},  /* 0x71 q */
	{0x3c, 0x04, 0x04, 0x08, 0x00},  /* 0x72 r */
	{0x28, 0x2c, 0x34, 0x14, 0x00},  /* 0x73 s */
	{0x04, 0x1f, 0x24, 0x20, 0x00},  /* 0x74 t */
	{0x1c, 0x20, 0x20, 0x3c, 0x00},  /* 0x75 u */
	{0x00, 0x1c, 0x20, 0x1c, 0x00},  /* 0x76 v */
	{0x3c, 0x30, 0x30, 0x3c, 0x00},  /* 0x77 w */
	{0x24, 0x18, 0x18, 0x24, 0x00},  /* 0x78 x */
	{0x0c, 0x50, 0x20, 0x1c, 0x00},  /* 0x79 y */
	{0x24, 0x34, 0x2c, 0x24, 0x00},  /* 0x7a z */
	{0x00, 0x04, 0x1e, 0x21, 0x00},  /* 0x7b { */
	{0x00, 0x00, 0x3f, 0x00, 0x00},  /* 0x7c | */
	{0x00, 0x21, 0x1e, 0x04, 0x00},  /* 0x7d } */
	{0x02, 0x01, 0x02, 0x01, 0x00},  /* 0x7e ~ */
};

FONT_ENTRY_DEFINE(oled_font5x8_entry, 5, 8, CFB_FONT_MONO_VPACKED, oled_font5x8, 32, 126);
```

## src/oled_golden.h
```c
/* SPDX-License-Identifier: Apache-2.0 */
/*
 * The golden screen. The host test renders it and records the sha256 of the resulting
 * 128x64 image in expected/oled_status.json; the RTL simulation and the board lab draw the
 * same numbers so the SSD1306 model's framebuffer can be compared against that hash.
 * Changing anything here changes the golden: re-run scripts/54_oled_host_tests.sh --update.
 */
#ifndef OLED_GOLDEN_H_
#define OLED_GOLDEN_H_

#include "oled_status.h"

static const struct oled_status oled_golden_status = {
	.soc_magic = 0x5A5A001E,
	.soc_name = "roccmoon",
	.frame = 123456,
	.fps_milli = 29970,
	.label = "person",
	.score_pct = 87,
	.rtf_milli = 4350,
};

#endif /* OLED_GOLDEN_H_ */
```

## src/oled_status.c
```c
/* SPDX-License-Identifier: Apache-2.0 */
/*
 * Status screen for a 128x64 SSD1306 on the camera's I2C bus. See oled_status.h for the
 * rules and fpga/pynq-z2/docs/OLED_SSD1306.md section 5 for why each one exists.
 *
 * Output is printk, not LOG_*: the boards this runs on build with CONFIG_LOG=n, the lab
 * scripts grep the console, and pulling in the logging subsystem for four messages would
 * cost more than this whole file.
 */
#include "oled_status.h"

#include <errno.h>
#include <string.h>
#include <zephyr/device.h>
#include <zephyr/devicetree.h>
#include <zephyr/display/cfb.h>
#include <zephyr/drivers/i2c.h>
#include <zephyr/kernel.h>
#include <zephyr/spinlock.h>
#include <zephyr/sys/printk.h>

#if defined(CONFIG_RISCV)
#include <zephyr/arch/riscv/csr.h>
#define OLED_CYCLES() ((uint32_t)csr_read(mcycle))
#else
#define OLED_CYCLES() ((uint32_t)k_cycle_get_32())
#endif

#define COLS  25	/* 128 px / 5 px font */
#define ROW_H 8

/* ---- candidates: every okay SSD1306 node labelled oled_3c / oled_3d ---- */

struct oled_candidate {
	const struct device *disp;
	const struct device *bus;
	uint16_t addr;
};

#define OLED_CANDIDATE(label)                                                              \
	COND_CODE_1(DT_NODE_HAS_STATUS_OKAY(DT_NODELABEL(label)),                          \
		    ({.disp = DEVICE_DT_GET(DT_NODELABEL(label)),                           \
		      .bus = DEVICE_DT_GET(DT_BUS(DT_NODELABEL(label))),                    \
		      .addr = DT_REG_ADDR(DT_NODELABEL(label))},),                          \
		    ())

static const struct oled_candidate candidates[] = {
	OLED_CANDIDATE(oled_3c)
	OLED_CANDIDATE(oled_3d)
};

/* ---- shared state ---- */

K_MUTEX_DEFINE(oled_bus_mutex);
static K_SEM_DEFINE(post_sem, 0, 1);
static struct k_spinlock post_lock;
static struct oled_status posted;
static bool post_is_pattern;

static atomic_t state = ATOMIC_INIT(OLED_STATE_IDLE);
static uint16_t addr_in_use;
static atomic_t frames_drawn;
static uint32_t last_render_cycles, last_xfer_cycles;

void oled_status_bus_lock(void)
{
	k_mutex_lock(&oled_bus_mutex, K_FOREVER);
}

void oled_status_bus_unlock(void)
{
	k_mutex_unlock(&oled_bus_mutex);
}

enum oled_state oled_status_state(void)
{
	return (enum oled_state)atomic_get(&state);
}

const char *oled_state_name(enum oled_state st)
{
	switch (st) {
	case OLED_STATE_IDLE:    return "IDLE";
	case OLED_STATE_PROBING: return "PROBING";
	case OLED_STATE_READY:   return "READY";
	case OLED_STATE_ABSENT:  return "ABSENT";
	case OLED_STATE_FAILED:  return "FAILED";
	}
	return "?";
}

uint16_t oled_status_addr(void)
{
	return addr_in_use;
}

uint32_t oled_status_frames_drawn(void)
{
	return (uint32_t)atomic_get(&frames_drawn);
}

uint32_t oled_status_last_render_cycles(void)
{
	return last_render_cycles;
}

uint32_t oled_status_last_xfer_cycles(void)
{
	return last_xfer_cycles;
}

void oled_status_post(const struct oled_status *s)
{
	k_spinlock_key_t key = k_spin_lock(&post_lock);

	posted = *s;
	posted.label[OLED_STATUS_LABEL_MAX - 1] = '\0';
	post_is_pattern = false;
	k_spin_unlock(&post_lock, key);
	k_sem_give(&post_sem);
}

void oled_status_post_pattern(void)
{
	k_spinlock_key_t key = k_spin_lock(&post_lock);

	post_is_pattern = true;
	k_spin_unlock(&post_lock, key);
	k_sem_give(&post_sem);
}

/* ---- rendering (CFB buffer only, no bus access) ---- */

static void put_hex32(char *p, uint32_t v)
{
	static const char hex[] = "0123456789ABCDEF";

	for (int i = 7; i >= 0; i--) {
		p[i] = hex[v & 0xf];
		v >>= 4;
	}
}

static int print_row(const struct device *disp, int row, const char *s)
{
	char buf[COLS + 1];

	/* Truncate rather than let CFB wrap onto the next row. */
	strncpy(buf, s, COLS);
	buf[COLS] = '\0';
	return cfb_print(disp, buf, 0, row * ROW_H);
}

int oled_bar(const struct device *disp, uint16_t x, uint16_t y, uint16_t w, uint16_t h,
	     uint32_t value, uint32_t full_scale)
{
	struct cfb_position start = {.x = x, .y = y};
	struct cfb_position end = {.x = x + w - 1, .y = y + h - 1};
	uint32_t inner = w - 4U;
	uint32_t fill;
	int ret;

	if (w < 5U || h < 5U || full_scale == 0U) {
		return -EINVAL;
	}
	if (value > full_scale) {
		value = full_scale;
	}
	ret = cfb_draw_rect(disp, &start, &end);
	if (ret) {
		return ret;
	}
	fill = (uint32_t)(((uint64_t)inner * value) / full_scale);
	if (fill == 0U) {
		return 0;
	}
	return cfb_invert_area(disp, x + 2, y + 2, fill, h - 4);
}

int oled_status_render(const struct device *disp, const struct oled_status *s)
{
	char buf[COLS + 8];
	int ret;

	ret = cfb_framebuffer_clear(disp, false);
	if (ret) {
		return ret;
	}

	/* row 0: MAGIC and SoC name */
	memcpy(buf, "0x", 2);
	put_hex32(buf + 2, s->soc_magic);
	buf[10] = ' ';
	strncpy(buf + 11, s->soc_name ? s->soc_name : "", COLS - 11);
	buf[COLS] = '\0';
	ret |= print_row(disp, 0, buf);

	/* rows 1-2: frame counter and fps */
	snprintk(buf, sizeof(buf), "frame %u", s->frame);
	ret |= print_row(disp, 1, buf);
	snprintk(buf, sizeof(buf), "fps   %u.%02u", s->fps_milli / 1000U,
		 (s->fps_milli % 1000U) / 10U);
	ret |= print_row(disp, 2, buf);

	/* row 3: label and confidence; row 4: its bar */
	snprintk(buf, sizeof(buf), "%s", s->label);
	for (size_t n = strlen(buf); n < 20U; n++) {
		buf[n] = ' ';
	}
	snprintk(buf + 20, sizeof(buf) - 20, "%3u%%", s->score_pct > 100 ? 100 : s->score_pct);
	ret |= print_row(disp, 3, buf);
	ret |= oled_bar(disp, 0, 4 * ROW_H + 1, 128, 6, s->score_pct, 100);

	/* row 5: RTF, row 6: its bar against CONFIG_OLED_STATUS_RTF_FULL_SCALE_MILLI */
	snprintk(buf, sizeof(buf), "RTF   %u.%03u", s->rtf_milli / 1000U, s->rtf_milli % 1000U);
	ret |= print_row(disp, 5, buf);
	ret |= oled_bar(disp, 0, 6 * ROW_H + 1, 128, 6, s->rtf_milli,
			CONFIG_OLED_STATUS_RTF_FULL_SCALE_MILLI);

	/* row 7: legend for the second bar */
	snprintk(buf, sizeof(buf), "RTF bar 0..%u", CONFIG_OLED_STATUS_RTF_FULL_SCALE_MILLI / 1000U);
	ret |= print_row(disp, 7, buf);

	return ret ? -EIO : 0;
}

int oled_test_pattern(const struct device *disp)
{
	struct cfb_position a = {.x = 0, .y = 0};
	struct cfb_position b = {.x = 127, .y = 63};
	int ret = cfb_framebuffer_clear(disp, false);

	ret |= cfb_draw_rect(disp, &a, &b);
	/* 8x8 checkerboard in the right third, one tile per cell */
	for (uint16_t ty = 1; ty < 7; ty++) {
		for (uint16_t tx = 12; tx < 15; tx++) {
			if (((tx + ty) & 1U) == 0U) {
				ret |= cfb_invert_area(disp, tx * 8, ty * 8, 8, 8);
			}
		}
	}
	ret |= cfb_print(disp, "OLED TEST", 4, 1 * ROW_H);
	ret |= cfb_print(disp, "128x64", 4, 2 * ROW_H);
	ret |= cfb_print(disp, "ABCabc 0123", 4, 4 * ROW_H);
	ret |= oled_bar(disp, 4, 6 * ROW_H, 88, 7, 1, 2);
	return ret ? -EIO : 0;
}

int oled_cfb_setup(const struct device *disp)
{
	int n, ret;
	uint8_t w, h;

	ret = cfb_framebuffer_init(disp);
	if (ret) {
		return ret;
	}
	/* Pick the 5x8 font by size, so an image that also links the stock fonts still works. */
	n = cfb_get_numof_fonts(disp);
	for (int i = 0; i < n; i++) {
		if (cfb_get_font_size(disp, i, &w, &h) == 0 && w == 5 && h == 8) {
			cfb_framebuffer_set_font(disp, i);
			break;
		}
	}
	/*
	 * The SSD1306 driver reports PIXEL_FORMAT_MONO01, and CFB's finalize inverts the
	 * buffer for MONO01 unless the framebuffer is marked inverted. Marking it here makes
	 * a set bit a lit pixel: light text on a dark panel. No bus traffic.
	 */
	return cfb_framebuffer_invert(disp);
}

/* ---- the display thread ---- */

static void say_once(const char *what, int err, uint16_t addr)
{
	printk("oled: %s (addr 0x%02x, err %d) -- display disabled, capture and inference unaffected\n",
	       what, addr, err);
}

static const struct oled_candidate *probe(void)
{
	/* One NOP under a command control byte: harmless on an SSD1306, ACKed if present. */
	static const uint8_t nop[] = {0x00, 0xE3};

	for (size_t i = 0; i < ARRAY_SIZE(candidates); i++) {
		const struct oled_candidate *c = &candidates[i];
		int ret;

		if (!device_is_ready(c->bus)) {
			continue;
		}
		oled_status_bus_lock();
		ret = i2c_write(c->bus, nop, sizeof(nop), c->addr);
		oled_status_bus_unlock();
		if (ret == 0) {
			return c;
		}
	}
	return NULL;
}

static void oled_thread(void *p1, void *p2, void *p3)
{
	const struct oled_candidate *c;
	struct oled_status snap;
	bool pattern;
	int64_t next = 0;
	int ret;

	ARG_UNUSED(p1);
	ARG_UNUSED(p2);
	ARG_UNUSED(p3);

	atomic_set(&state, OLED_STATE_PROBING);
	c = probe();
	if (c == NULL) {
		atomic_set(&state, OLED_STATE_ABSENT);
		say_once("no ACK at 0x3c/0x3d, not fitted", -EIO, 0);
		return;
	}
	addr_in_use = c->addr;

	oled_status_bus_lock();
	ret = device_init(c->disp); /* the SSD1306 init sequence */
	oled_status_bus_unlock();
	if (ret != 0 && ret != -EALREADY) {
		atomic_set(&state, OLED_STATE_FAILED);
		say_once("ACKed but init failed", ret, c->addr);
		return;
	}
	ret = oled_cfb_setup(c->disp);
	if (ret) {
		atomic_set(&state, OLED_STATE_FAILED);
		say_once("framebuffer setup failed", ret, c->addr);
		return;
	}
	atomic_set(&state, OLED_STATE_READY);
	printk("oled: ready at 0x%02x\n", c->addr);

	for (;;) {
		k_sem_take(&post_sem, K_FOREVER);

		/* Rate limit: at most one refresh per period; the newest post wins. */
		int64_t now = k_uptime_get();

		if (now < next) {
			k_sleep(K_MSEC(next - now));
		}

		k_spinlock_key_t key = k_spin_lock(&post_lock);

		snap = posted;
		pattern = post_is_pattern;
		k_spin_unlock(&post_lock, key);

		uint32_t t0 = OLED_CYCLES();

		if (pattern) {
			ret = oled_test_pattern(c->disp);
		} else {
			ret = oled_status_render(c->disp, &snap);
		}
		uint32_t t1 = OLED_CYCLES();

		if (ret == 0) {
			oled_status_bus_lock();
			ret = cfb_framebuffer_finalize(c->disp);
			oled_status_bus_unlock();
		}
		last_render_cycles = t1 - t0;
		last_xfer_cycles = OLED_CYCLES() - t1;
		if (ret) {
			atomic_set(&state, OLED_STATE_FAILED);
			say_once("refresh failed", ret, c->addr);
			return;
		}
		atomic_inc(&frames_drawn);
		next = k_uptime_get() + CONFIG_OLED_STATUS_PERIOD_MS;
	}
}

K_THREAD_STACK_DEFINE(oled_stack, CONFIG_OLED_STATUS_STACK_SIZE);
static struct k_thread oled_thread_data;

int oled_status_start(void)
{
	if (atomic_cas(&state, OLED_STATE_IDLE, OLED_STATE_PROBING) == false) {
		return -EALREADY;
	}
	if (ARRAY_SIZE(candidates) == 0) {
		atomic_set(&state, OLED_STATE_ABSENT);
		say_once("no SSD1306 node in the devicetree", -ENODEV, 0);
		return 0;
	}
	k_thread_create(&oled_thread_data, oled_stack, K_THREAD_STACK_SIZEOF(oled_stack),
			oled_thread, NULL, NULL, NULL, K_LOWEST_APPLICATION_THREAD_PRIO, 0,
			K_NO_WAIT);
	k_thread_name_set(&oled_thread_data, "oled");
	return 0;
}
```

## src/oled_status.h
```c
/* SPDX-License-Identifier: Apache-2.0 */
/*
 * A five-line status screen on a 128x64 SSD1306 OLED that shares the camera's I2C bus.
 *
 * The rules this code keeps (fpga/pynq-z2/docs/OLED_SSD1306.md section 5):
 *
 *   NEVER IN THE BOOT PATH.  Both candidate display nodes (0x3c, 0x3d) are
 *   `zephyr,deferred-init`, so nothing touches the bus before main().  Probing and the
 *   SSD1306 init sequence run in oled_status's own thread.
 *
 *   NEVER BLOCKS THE CALLER.  oled_status_post() copies the numbers under a spinlock and
 *   gives a semaphore.  Rendering and the I2C transfer happen in a preemptible thread at
 *   the lowest application priority, at most once per CONFIG_OLED_STATUS_PERIOD_MS.
 *
 *   ABSENT IS NOT AN ERROR.  If neither address ACKs, it logs "not fitted" once and the
 *   thread exits.  If a transfer fails later, it logs once and stops using the bus.
 *
 *   ONE BUS, ONE LOCK.  Zephyr's i2c_sifive has no lock of its own.  Every user of the
 *   same I2C controller in the image -- the camera's exposure writes included -- must hold
 *   oled_status_bus_lock() around each transfer.
 */
#ifndef OLED_STATUS_H_
#define OLED_STATUS_H_

#include <stdbool.h>
#include <stdint.h>
#include <zephyr/device.h>

#define OLED_STATUS_LABEL_MAX 16

struct oled_status {
	uint32_t soc_magic;      /* SOC_MAGIC, e.g. 0x5A5A001E */
	const char *soc_name;    /* static string, e.g. "roccmoon" */
	uint32_t frame;          /* frame counter */
	uint32_t fps_milli;      /* frames per second x 1000 */
	char label[OLED_STATUS_LABEL_MAX]; /* classification label */
	uint8_t score_pct;       /* label confidence, 0..100 (drawn as a bar) */
	uint32_t rtf_milli;      /* real-time factor x 1000, supplied by the application */
};

enum oled_state {
	OLED_STATE_IDLE = 0,     /* oled_status_start() not called yet */
	OLED_STATE_PROBING,
	OLED_STATE_READY,
	OLED_STATE_ABSENT,       /* no ACK at any candidate address: not fitted */
	OLED_STATE_FAILED,       /* ACKed, then a transfer failed: stopped using the bus */
};

/* Start the display thread. Returns immediately; never touches the bus itself. */
int oled_status_start(void);

/* Latest numbers for the screen. Non-blocking, callable from any thread. */
void oled_status_post(const struct oled_status *s);

/* Show the test pattern instead, until the next oled_status_post(). Non-blocking. */
void oled_status_post_pattern(void);

enum oled_state oled_status_state(void);
const char *oled_state_name(enum oled_state st);
uint16_t oled_status_addr(void);          /* 7-bit address in use, 0 if none */
uint32_t oled_status_frames_drawn(void);  /* completed screen refreshes */

/*
 * Cost of the last refresh in core cycles (mcycle), split into the CFB rendering and the
 * I2C transfer the driver busy-polls through. 0 until the first refresh. Used by the RTL
 * simulation and the board lab to put a measured number against OLED_SSD1306.md section 4.
 */
uint32_t oled_status_last_render_cycles(void);
uint32_t oled_status_last_xfer_cycles(void);

/* The application's I2C bus mutex (a k_mutex: priority inheritance). */
void oled_status_bus_lock(void);
void oled_status_bus_unlock(void);

/*
 * Rendering, exposed for the host test and for applications that drive the display
 * themselves. All three draw into the CFB buffer only; call cfb_framebuffer_finalize()
 * (under the bus lock) to send it.
 */
int oled_status_render(const struct device *disp, const struct oled_status *s);
int oled_test_pattern(const struct device *disp);

/*
 * Horizontal bar graph: a 1-pixel outline of w x h at (x, y), filled from the left in
 * proportion to value/full_scale with a 1-pixel gap inside the outline. value is clamped
 * to full_scale. Needs w >= 5 and h >= 5.
 */
int oled_bar(const struct device *disp, uint16_t x, uint16_t y, uint16_t w, uint16_t h,
	     uint32_t value, uint32_t full_scale);

/* CFB setup shared by the thread and the host test: font, lit-on-dark polarity. */
int oled_cfb_setup(const struct device *disp);

#endif /* OLED_STATUS_H_ */
```
